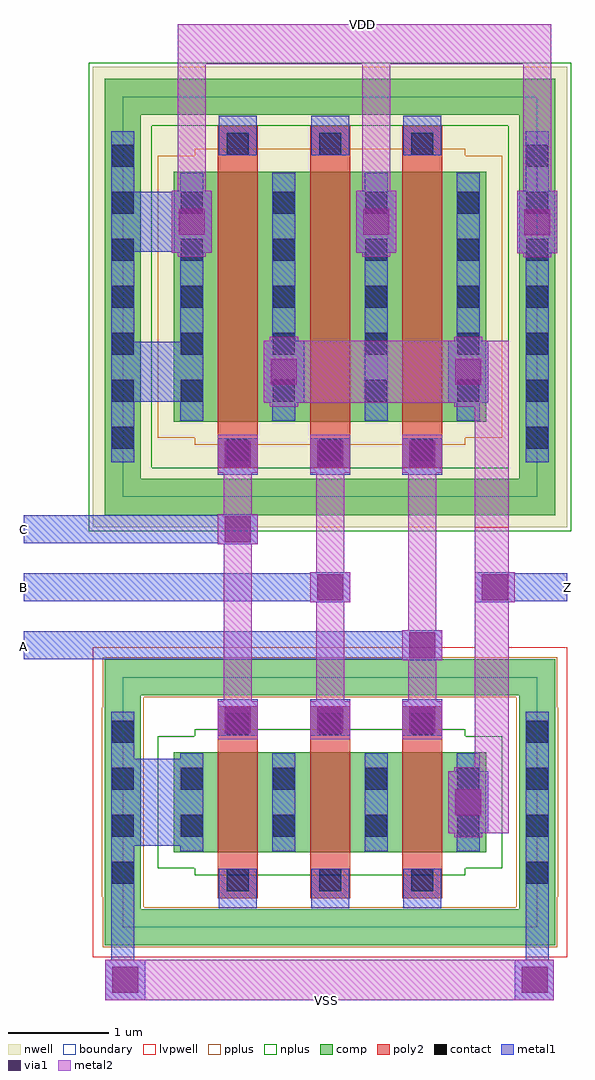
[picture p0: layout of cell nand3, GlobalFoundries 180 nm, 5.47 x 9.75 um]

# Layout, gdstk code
import gdstk
lib = gdstk.Library(unit=1e-6, precision=1e-09)
def R(c, l, rs):  # rectangles x0, y0, x1, y1
    for r in rs: c.add(gdstk.rectangle(r[:2], r[2:], *l))
def A(c, l, x, y, w, h, nx, ny, dx, dy):  # array of equal rectangles
    R(c, l, [(x+i*dx, y+j*dy, x+i*dx+w, y+j*dy+h) for i in range(nx) for j in range(ny)])
boundary = (0, 0)
nwell = (21, 0)
comp = (22, 0)
poly2 = (30, 0)
pplus = (31, 0)
nplus = (32, 0)
contact = (33, 0)
metal1 = (34, 0)
via1 = (35, 0)
metal2 = (36, 0)
lvpwell = (204, 0)

nfet_03v3_epf4up = lib.new_cell('nfet_03v3_EPF4UP')
R(nfet_03v3_epf4up, boundary, [(-2.07,-1.25,2.07,1.25)])
R(nfet_03v3_epf4up, comp, [(-2.25,-1.43,2.25,-1.07), (-2.25,-1.07,-1.89,1.07), (1.89,-1.07,2.25,1.07), (-1.56,-0.5,1.56,0.5), (-2.25,1.07,2.25,1.43)])
A(nfet_03v3_epf4up, poly2, -1.12, -0.96, 0.4, 1.92, 3, 1, 0.92, 0)
R(nfet_03v3_epf4up, pplus, [(-2.27,-1.45,2.27,-1.05), (-2.27,-1.05,-1.86,-0.945), (1.86,-1.05,2.27,-0.945), (-2.28,-0.945,-1.86,0.945), (1.86,-0.945,2.28,0.945), (-2.27,0.945,-1.86,1.05), (1.86,0.945,2.27,1.05), (-2.27,1.05,2.27,1.45)])
R(nfet_03v3_epf4up, nplus, [(-1.35,-0.73,1.35,-0.66), (-1.72,-0.66,1.72,0.66), (-1.35,0.66,1.35,0.73)])
A(nfet_03v3_epf4up, contact, -1.03, -0.89, 0.22, 0.22, 3, 2, 0.92, 1.56)
A(nfet_03v3_epf4up, contact, -2.18, -0.815, 0.22, 0.22, 1, 4, 0, 0.47)
A(nfet_03v3_epf4up, contact, 1.96, -0.815, 0.22, 0.22, 1, 4, 0, 0.47)
A(nfet_03v3_epf4up, contact, -1.49, -0.345, 0.22, 0.22, 4, 2, 0.92, 0.47)
A(nfet_03v3_epf4up, metal1, -1.11, -0.895, 0.38, 0.23, 3, 2, 0.92, 1.56)
A(nfet_03v3_epf4up, metal1, -1.495, -0.49, 0.23, 0.98, 4, 1, 0.92, 0)
R(nfet_03v3_epf4up, metal1, [(-2.185,-0.905,-1.955,0.905), (1.955,-0.905,2.185,0.905)])
R(nfet_03v3_epf4up, lvpwell, [(-2.37,-1.55,2.37,1.55)])

pfet_03v3_54ra84 = lib.new_cell('pfet_03v3_54RA84')
R(pfet_03v3_54ra84, boundary, [(-2.07,-2,2.07,2)])
R(pfet_03v3_54ra84, nwell, [(-2.37,-2.3,2.37,2.3)])
R(pfet_03v3_54ra84, comp, [(-2.25,-2.18,2.25,-1.82), (-2.25,-1.82,-1.89,1.82), (1.89,-1.82,2.25,1.82), (-1.56,-1.25,1.56,1.25), (-2.25,1.82,2.25,2.18)])
A(pfet_03v3_54ra84, poly2, -1.12, -1.71, 0.4, 3.42, 3, 1, 0.92, 0)
R(pfet_03v3_54ra84, pplus, [(-1.35,-1.48,1.35,-1.41), (-1.72,-1.41,1.72,1.41), (-1.35,1.41,1.35,1.48)])
R(pfet_03v3_54ra84, nplus, [(-2.41,-2.34,2.41,-1.71), (-2.41,-1.71,-1.78,1.71), (1.78,-1.71,2.41,1.71), (-2.41,1.71,2.41,2.34)])
A(pfet_03v3_54ra84, contact, -1.03, -1.64, 0.22, 0.22, 3, 2, 0.92, 3.06)
A(pfet_03v3_54ra84, contact, -2.18, -1.52, 0.22, 0.22, 1, 7, 0, 0.47)
A(pfet_03v3_54ra84, contact, 1.96, -1.52, 0.22, 0.22, 1, 7, 0, 0.47)
A(pfet_03v3_54ra84, contact, -1.49, -1.05, 0.22, 0.22, 4, 5, 0.92, 0.47)
A(pfet_03v3_54ra84, metal1, -1.11, -1.645, 0.38, 0.23, 3, 2, 0.92, 3.06)
A(pfet_03v3_54ra84, metal1, -1.495, -1.24, 0.23, 2.48, 4, 1, 0.92, 0)
R(pfet_03v3_54ra84, metal1, [(-2.185,-1.655,-1.955,1.655), (1.955,-1.655,2.185,1.655)])

nand3 = lib.new_cell('nand3')
R(nand3, nwell, [(13.065,-3.675,13.405,-3.67)])
A(nand3, metal1, 10.51, -8.11, 0.38, 0.165, 3, 2, 0.92, 7.755)
A(nand3, metal1, 10.5, -6.37, 0.4, 0.35, 3, 2, 0.92, 2.59)
R(nand3, metal1, [(9.375,-9.025,9.775,-8.625), (13.465,-9.025,13.855,-8.625), (9.435,-8.625,9.665,-7.955), (13.575,-8.625,13.805,-7.955), (9.665,-7.485,10.125,-6.615), (12.8,-7.36,13.2,-6.74), (12.34,-5.63,12.74,-5.62), (8.56,-5.62,12.74,-5.34), (12.34,-5.34,12.74,-5.33), (11.42,-5.05,11.82,-5.04), (13.065,-5.05,13.465,-5.04), (8.56,-5.04,11.82,-4.76), (13.065,-5.04,13.99,-4.76), (11.42,-4.76,11.82,-4.75), (13.065,-4.76,13.465,-4.75), (10.5,-4.47,10.9,-4.46), (8.56,-4.46,10.9,-4.18), (10.5,-4.18,10.9,-4.17), (10.96,-3.06,11.36,-2.44), (12.8,-3.06,13.2,-2.44), (9.665,-3.05,10.285,-2.45), (13.49,-1.565,13.89,-0.94), (10.04,-1.56,10.44,-1.55), (11.88,-1.56,12.28,-0.94), (9.665,-1.55,10.44,-0.95), (10.04,-0.95,10.44,-0.94)])
A(nand3, via1, 10.57, -6.36, 0.26, 0.26, 3, 2, 0.92, 2.66)
R(nand3, via1, [(9.445,-8.955,9.705,-8.695), (13.535,-8.955,13.795,-8.695), (12.87,-7.18,13.13,-6.92), (12.41,-5.61,12.67,-5.35), (11.49,-5.03,11.75,-4.77), (13.135,-5.03,13.395,-4.77), (10.57,-4.45,10.83,-4.19), (11.03,-2.88,11.29,-2.62), (12.87,-2.88,13.13,-2.62), (13.56,-1.385,13.82,-1.125), (10.11,-1.38,10.37,-1.12), (11.95,-1.38,12.21,-1.12)])
A(nand3, metal2, 10.5, -6.42, 0.4, 0.38, 3, 2, 0.92, 2.66)
R(nand3, metal2, [(9.375,-9.025,13.855,-8.625), (12.86,-7.4,13.14,-7.36), (12.8,-7.36,13.405,-6.74), (12.86,-6.74,13.405,-6.7), (13.065,-6.7,13.405,-5.05), (10.56,-6.04,10.84,-4.47), (11.48,-6.04,11.76,-5.05), (12.4,-6.04,12.68,-5.63), (12.34,-5.63,12.74,-5.33), (12.4,-5.33,12.68,-3.76), (11.42,-5.05,11.82,-4.75), (13.065,-5.05,13.465,-4.75), (11.48,-4.75,11.76,-3.76), (13.065,-4.75,13.405,-3.1), (10.5,-4.47,10.9,-4.17), (10.56,-4.17,10.84,-3.76), (11.02,-3.1,11.3,-3.06), (12.86,-3.1,13.405,-3.06), (10.96,-3.06,13.405,-2.44), (11.02,-2.44,11.3,-2.4), (12.86,-2.44,13.14,-2.4), (13.55,-1.605,13.83,-1.565), (10.1,-1.6,10.38,-1.56), (11.94,-1.6,12.22,-1.56), (13.49,-1.565,13.89,-0.94), (10.04,-1.56,10.44,-0.94), (11.88,-1.56,12.28,-0.94), (10.1,-0.94,10.38,0.325), (11.94,-0.94,12.22,0.325), (13.55,-0.94,13.83,0.325), (10.1,0.325,13.83,0.725)])
R(nand3, lvpwell, [(13.065,-7.36,13.405,-4.3)])
nand3.add(gdstk.Reference(nfet_03v3_epf4up, (11.62,-7.05)))
nand3.add(gdstk.Reference(pfet_03v3_54ra84, (11.62,-2)))
nand3.add(gdstk.Label('VDD', (11.94,0.725), layer=36, texttype=10))
nand3.add(gdstk.Label('Z', (13.99,-4.905), layer=34, texttype=10))
nand3.add(gdstk.Label('A', (8.56,-5.495), layer=34, texttype=10))
nand3.add(gdstk.Label('B', (8.56,-4.9), layer=34, texttype=10))
nand3.add(gdstk.Label('C', (8.56,-4.32), layer=34, texttype=10))
nand3.add(gdstk.Label('VSS', (11.58,-9.025), layer=36, texttype=10))

lib.write_gds('nand3.gds')
